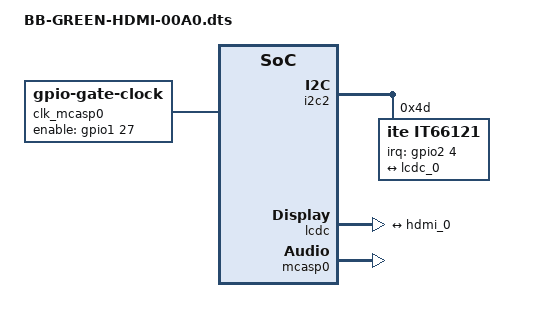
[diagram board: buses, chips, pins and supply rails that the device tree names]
/*
 * 2017 Copyright (c) Seeed Technology Inc.  All right reserved.
 * Author:Baozhu Zuo <zuobaozhu@gmail.com>
 *
 * This program is free software; you can redistribute it and/or modify
 * it under the terms of the GNU General Public License version 2 as
 * published by the Free Software Foundation.
 */

/dts-v1/;
/plugin/;

#include <dt-bindings/board/am335x-bbw-bbb-base.h>
#include <dt-bindings/pinctrl/am33xx.h>

/ {
	/*
	 * Helper to show loaded overlays under: /proc/device-tree/chosen/overlays/
	 */
	fragment@0 {
		target-path="/";
		__overlay__ {

			chosen {
				overlays {
					BB-GREEN-HDMI-00A0 = __TIMESTAMP__;
				};
			};
		};
	};

	/*
	 * Free up the pins used by the cape from the pinmux helpers.
	 */
	fragment@1 {
		target = <&ocp>;
		__overlay__ {
			P8_07_pinmux { status = "disabled"; };	/* P8_07: gpio2_2, OUTPUT | MODE7  */
			P8_08_pinmux { status = "disabled"; };	/* P8_08: gpio2_3, OUTPUT | MODE7  */
			P8_10_pinmux { status = "disabled"; };	/* P8_10: gpio2_4, INTPUT | MODE7  */

			P8_45_pinmux { status = "disabled"; };	/* P8_45: lcd_data0.lcd_data0 */
			P8_46_pinmux { status = "disabled"; };	/* P8_46: lcd_data1.lcd_data1 */
			P8_43_pinmux { status = "disabled"; };	/* P8_43: lcd_data2.lcd_data2 */
			P8_44_pinmux { status = "disabled"; };	/* P8_44: lcd_data3.lcd_data3 */
			P8_41_pinmux { status = "disabled"; };	/* P8_41: lcd_data4.lcd_data4 */
			P8_42_pinmux { status = "disabled"; };	/* P8_42: lcd_data5.lcd_data5 */
			P8_39_pinmux { status = "disabled"; };	/* P8_39: lcd_data6.lcd_data6 */
			P8_40_pinmux { status = "disabled"; };	/* P8_40: lcd_data7.lcd_data7 */
			P8_37_pinmux { status = "disabled"; };	/* P8_37: lcd_data8.lcd_data8 */
			P8_38_pinmux { status = "disabled"; };	/* P8_38: lcd_data9.lcd_data9 */
			P8_36_pinmux { status = "disabled"; };	/* P8_36: lcd_data10.lcd_data10 */
			P8_34_pinmux { status = "disabled"; };	/* P8_34: lcd_data11.lcd_data11 */
			P8_35_pinmux { status = "disabled"; };	/* P8_35: lcd_data12.lcd_data12 */
			P8_33_pinmux { status = "disabled"; };	/* P8_33: lcd_data13.lcd_data13 */
			P8_31_pinmux { status = "disabled"; };	/* P8_31: lcd_data14.lcd_data14 */
			P8_32_pinmux { status = "disabled"; };	/* P8_32: lcd_data15.lcd_data15 */

			P8_27_pinmux { status = "disabled"; };	/* P8_27: lcd_vsync.lcd_vsync */
			P8_29_pinmux { status = "disabled"; };	/* P8_29: lcd_hsync.lcd_hsync */
			P8_28_pinmux { status = "disabled"; };	/* P8_28: lcd_pclk.lcd_pclk */
			P8_30_pinmux { status = "disabled"; };	/* P8_30: lcd_ac_bias_en.lcd_ac_bias_en */

			P9_25_pinmux { status = "disabled"; };	/* P9_25: mcasp0_ahcklx.mcasp0_ahclkx */
			P9_28_pinmux { status = "disabled"; };	/* P9_28: mcasp0_ahclkr.mcasp0_axr2*/
			P9_29_pinmux { status = "disabled"; };	/* P9_29: mcasp0_fsx.mcasp0_fsx */
			P9_31_pinmux { status = "disabled"; };	/* P9_31: mcasp0_aclkx.mcasp0_aclkx */
		};
	};

	fragment@2 {
		target = <&am33xx_pinmux>;
		__overlay__ {
			bb_lcd_pins: pinmux_bb_lcd_pins {
				pinctrl-single,pins = <

					BONE_P8_07 (PIN_OUTPUT_PULLDOWN | MUX_MODE7)	/* P8_07: gpio2_2, OUTPUT | MODE7  */
					BONE_P8_08 (PIN_OUTPUT_PULLDOWN | MUX_MODE7)	/* P8_08: gpio2_3, OUTPUT | MODE7  */
					BONE_P8_10 (PIN_INPUT | MUX_MODE7)		/* P8_10: gpio2_4, INTPUT | MODE7  */

					BONE_P8_45 (PIN_OUTPUT | MUX_MODE0)	/* P8_45: lcd_data0.lcd_data0 */
					BONE_P8_46 (PIN_OUTPUT | MUX_MODE0)	/* P8_46: lcd_data1.lcd_data1 */
					BONE_P8_43 (PIN_OUTPUT | MUX_MODE0)	/* P8_43: lcd_data2.lcd_data2 */
					BONE_P8_44 (PIN_OUTPUT | MUX_MODE0)	/* P8_44: lcd_data3.lcd_data3 */
					BONE_P8_41 (PIN_OUTPUT | MUX_MODE0)	/* P8_41: lcd_data4.lcd_data4 */
					BONE_P8_42 (PIN_OUTPUT | MUX_MODE0)	/* P8_42: lcd_data5.lcd_data5 */
					BONE_P8_39 (PIN_OUTPUT | MUX_MODE0)	/* P8_39: lcd_data6.lcd_data6 */
					BONE_P8_40 (PIN_OUTPUT | MUX_MODE0)	/* P8_40: lcd_data7.lcd_data7 */
					BONE_P8_37 (PIN_OUTPUT | MUX_MODE0)	/* P8_37: lcd_data8.lcd_data8 */
					BONE_P8_38 (PIN_OUTPUT | MUX_MODE0)	/* P8_38: lcd_data9.lcd_data9 */
					BONE_P8_36 (PIN_OUTPUT | MUX_MODE0)	/* P8_36: lcd_data10.lcd_data10 */
					BONE_P8_34 (PIN_OUTPUT | MUX_MODE0)	/* P8_34: lcd_data11.lcd_data11 */
					BONE_P8_35 (PIN_OUTPUT | MUX_MODE0)	/* P8_35: lcd_data12.lcd_data12 */
					BONE_P8_33 (PIN_OUTPUT | MUX_MODE0)	/* P8_33: lcd_data13.lcd_data13 */
					BONE_P8_31 (PIN_OUTPUT | MUX_MODE0)	/* P8_31: lcd_data14.lcd_data14 */
					BONE_P8_32 (PIN_OUTPUT | MUX_MODE0)	/* P8_32: lcd_data15.lcd_data15 */

					BONE_P8_27 (PIN_OUTPUT | MUX_MODE0)	/* P8_27: lcd_vsync.lcd_vsync */
					BONE_P8_29 (PIN_OUTPUT | MUX_MODE0)	/* P8_29: lcd_hsync.lcd_hsync */
					BONE_P8_28 (PIN_OUTPUT | MUX_MODE0)	/* P8_28: lcd_pclk.lcd_pclk */
					BONE_P8_30 (PIN_OUTPUT | MUX_MODE0)	/* P8_30: lcd_ac_bias_en.lcd_ac_bias_en */
				>;
			};
			mcasp0_pins: mcasp0_pins {
				pinctrl-single,pins = <
					BONE_P9_25 (PIN_INPUT_PULLUP | MUX_MODE0)	/* P9_25: mcasp0_ahcklx.mcasp0_ahclkx */
					BONE_P9_28 (PIN_OUTPUT_PULLDOWN | MUX_MODE2)	/* P9_28: mcasp0_ahclkr.mcasp0_axr2*/
					BONE_P9_29 (PIN_OUTPUT_PULLUP | MUX_MODE0)	/* P9_29: mcasp0_fsx.mcasp0_fsx */
					BONE_P9_31 (PIN_OUTPUT_PULLDOWN | MUX_MODE0)	/* P9_31: mcasp0_aclkx.mcasp0_aclkx */
				>;
			};
		};
	};

	fragment@3 {
		target = <&i2c2>;
		__overlay__ {
			status = "okay";
			#address-cells = <1>;
			#size-cells = <0>;

			it66121: it66121 {
				compatible = "ite,it66121";
				reg = <0x4d>;
				pinctrl-names = "default";
				pinctrl-0 = <&bb_lcd_pins>;

				#sound-dai-cells = <0>;

				interrupt-parent = <&gpio2>;
				interrupts = <4 1>;
				ports {
					port@0 {
						hdmi_0: endpoint@0 {
							remote-endpoint = <&lcdc_0>;
						};
					};
				};
			};
		};
	};

	fragment@4 {
		target = <&lcdc>;
		__overlay__ {
			status = "okay";
			port {
				lcdc_0: endpoint@0 {
					remote-endpoint = <&hdmi_0>;
				};
			};
		};
	};

	fragment@5 {
		target = <&mcasp0>;
		__overlay__ {
			#sound-dai-cells = <0>;
			pinctrl-names = "default";
			pinctrl-0 = <&mcasp0_pins>;
			status = "okay";
			op-mode = <0>;	/* MCASP_IIS_MODE */
			tdm-slots = <2>;
			serial-dir = <	/* 0: INACTIVE, 1: TX, 2: RX */
					0 0 1 0
				>;
			tx-num-evt = <32>;
			rx-num-evt = <32>;
		};
	};

	fragment@6 {
		target-path="/";
		__overlay__ {
			clk_mcasp0_fixed: clk_mcasp0_fixed {
				#clock-cells = <0>;
				compatible = "fixed-clock";
				clock-frequency = <24576000>;
			};

			clk_mcasp0: clk_mcasp0 {
				#clock-cells = <0>;
				compatible = "gpio-gate-clock";
				clocks = <&clk_mcasp0_fixed>;
				enable-gpios = <&gpio1 27 0>; /* BeagleBone Black Clk enable on GPIO1_27 */
			};

			sound {
				compatible = "simple-audio-card";
				simple-audio-card,name = "TI BeagleBone Green HDMI cape";
				simple-audio-card,format = "i2s";
				simple-audio-card,bitclock-master = <&sound_master>;
				simple-audio-card,frame-master = <&sound_master>;

				sound_master: simple-audio-card,cpu {
					sound-dai = <&mcasp0>;
					clocks = <&clk_mcasp0>;
				};

				simple-audio-card,codec {
					sound-dai = <&it66121>;
				};
			};
		};
	};
};
